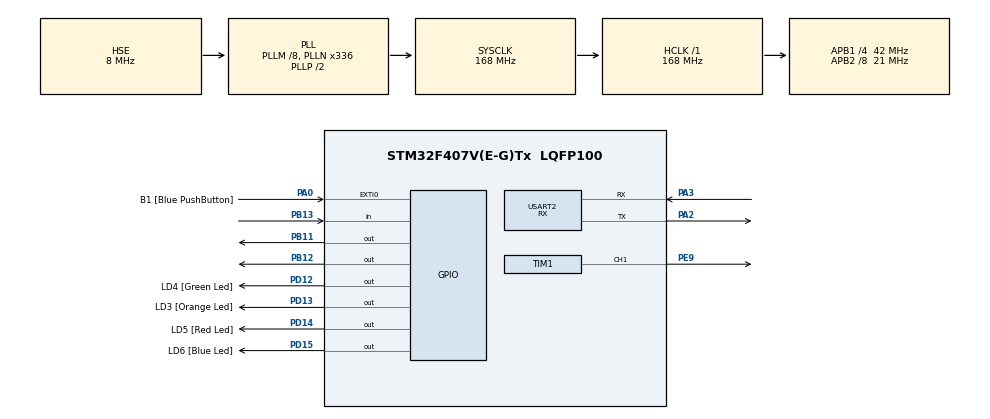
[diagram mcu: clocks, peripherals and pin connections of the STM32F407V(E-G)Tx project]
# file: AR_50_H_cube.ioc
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Mcu.Family=STM32F4
Mcu.Name=STM32F407V(E-G)Tx
Mcu.Package=LQFP100
NVIC.PriorityGroup=NVIC_PRIORITYGROUP_0
NVIC.USART2_IRQn=true\:0\:0\:false\:false\:true\:true\:true
PA0-WKUP.GPIO_Label=B1 [Blue PushButton]
PA0-WKUP.GPIO_ModeDefaultEXTI=GPIO_MODE_EVT_RISING
PA0-WKUP.GPIO_PuPd=GPIO_NOPULL
PA0-WKUP.Signal=GPXTI0
PA13.GPIO_Label=SWDIO
PA13.Mode=Serial_Wire
PA13.Signal=SYS_JTMS-SWDIO
PA14.GPIO_Label=SWCLK
PA14.Mode=Serial_Wire
PA14.Signal=SYS_JTCK-SWCLK
PA2.Mode=Asynchronous
PA2.Signal=USART2_TX
PA3.Mode=Asynchronous
PA3.Signal=USART2_RX
PB11.Signal=GPIO_Output
PB12.Signal=GPIO_Output
PB13.Signal=GPIO_Input
PB3.GPIO_Label=SWO
PB3.Signal=SYS_JTDO-SWO
PC14-OSC32_IN.GPIO_Label=PC14-OSC32_IN
PC14-OSC32_IN.Mode=LSE-External-Oscillator
PC14-OSC32_IN.Signal=RCC_OSC32_IN
PC15-OSC32_OUT.GPIO_Label=PC15-OSC32_OUT
PC15-OSC32_OUT.Mode=LSE-External-Oscillator
PC15-OSC32_OUT.Signal=RCC_OSC32_OUT
PD12.GPIO_Label=LD4 [Green Led]
PD12.GPIO_PuPd=GPIO_NOPULL
PD12.GPIO_Speed=GPIO_SPEED_FREQ_LOW
PD12.Signal=GPIO_Output
PD13.GPIO_Label=LD3 [Orange Led]
PD13.GPIO_PuPd=GPIO_NOPULL
PD13.GPIO_Speed=GPIO_SPEED_FREQ_LOW
PD13.Signal=GPIO_Output
PD14.GPIO_Label=LD5 [Red Led]
PD14.GPIO_PuPd=GPIO_NOPULL
PD14.GPIO_Speed=GPIO_SPEED_FREQ_LOW
PD14.Signal=GPIO_Output
PD15.GPIO_Label=LD6 [Blue Led]
PD15.GPIO_PuPd=GPIO_NOPULL
PD15.GPIO_Speed=GPIO_SPEED_FREQ_LOW
PD15.Signal=GPIO_Output
PE9.Signal=S_TIM1_CH1
PH0-OSC_IN.GPIO_Label=PH0-OSC_IN
PH0-OSC_IN.Mode=HSE-External-Oscillator
PH0-OSC_IN.Signal=RCC_OSC_IN
PH1-OSC_OUT.GPIO_Label=PH1-OSC_OUT
PH1-OSC_OUT.Mode=HSE-External-Oscillator
PH1-OSC_OUT.Signal=RCC_OSC_OUT
ProjectManager.HeapSize=0x200
ProjectManager.StackSize=0x400
ProjectManager.TargetToolchain=MDK-ARM V5
RCC.48MHZClocksFreq_Value=48000000
RCC.AHBFreq_Value=168000000
RCC.APB1CLKDivider=RCC_HCLK_DIV4
RCC.APB1Freq_Value=42000000
RCC.APB1TimFreq_Value=84000000
RCC.APB2CLKDivider=RCC_HCLK_DIV8
RCC.APB2Freq_Value=21000000
RCC.APB2TimFreq_Value=42000000
RCC.CortexFreq_Value=168000000
RCC.HCLKFreq_Value=168000000
RCC.HSE_VALUE=8000000
RCC.HSI_VALUE=16000000
RCC.PLLM=8
RCC.PLLN=336
RCC.PLLQ=7
RCC.PLLSourceVirtual=RCC_PLLSOURCE_HSE
RCC.SYSCLKFreq_VALUE=168000000
RCC.SYSCLKSource=RCC_SYSCLKSOURCE_PLLCLK
RCC.VCOOutputFreq_Value=336000000
SH.S_TIM1_CH1.0=TIM1_CH1,PWM Generation1 CH1
TIM1.Channel-PWM\ Generation1\ CH1=TIM_CHANNEL_1
TIM1.Period=19999
TIM1.Prescaler=41
TIM1.Pulse-PWM\ Generation1\ CH1=1500
USART2.Mode=MODE_RX
USART2.VirtualMode=VM_ASYNC
VP_TIM1_VS_ClockSourceINT.Mode=Internal
board=STM32F407G-DISC1

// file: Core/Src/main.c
/* USER CODE BEGIN Header */
/**
  ******************************************************************************
  * @file           : main.c
  * @brief          : Main program body
  ******************************************************************************
  * @attention
  *
  * <h2><center>&copy; Copyright (c) 2020 STMicroelectronics.
  * All rights reserved.</center></h2>
  *
  * This software component is licensed by ST under BSD 3-Clause license,
  * the "License"; You may not use this file except in compliance with the
  * License. You may obtain a copy of the License at:
  *                        opensource.org/licenses/BSD-3-Clause
  *
  ******************************************************************************
  */
/* USER CODE END Header */
#include "main.h"
#include "tim.h"
#include "usart.h"
#include "gpio.h"
#include "string.h"// funkcja sprintf, strcmp, strlen

/* USER CODE BEGIN PTD */
typedef struct
{
	int16_t Servo1;
}Controls;
/* USER CODE END PTD */

/* USER CODE BEGIN PD */
#define SERVO1_STEP 50
#define SERVO1_MAX 2100
#define SERVO1_MIN 900
#define SERVO1_NEUTRAL 1500
/* USER CODE END PD */

/* USER CODE BEGIN PV */
Controls control;
/* USER CODE END PV */

void SystemClock_Config(void);
/* USER CODE BEGIN PFP */
void moveForward(void){
	HAL_GPIO_WritePin(GPIOB, GPIO_PIN_11, GPIO_PIN_SET);
	HAL_GPIO_WritePin(GPIOB, GPIO_PIN_12, GPIO_PIN_RESET);
}

void moveBackward(void){
	HAL_GPIO_WritePin(GPIOB, GPIO_PIN_12, GPIO_PIN_SET);
	HAL_GPIO_WritePin(GPIOB, GPIO_PIN_11, GPIO_PIN_RESET);
}

void stop(void){
	HAL_GPIO_WritePin(GPIOB, GPIO_PIN_12, GPIO_PIN_RESET);
	HAL_GPIO_WritePin(GPIOB, GPIO_PIN_11, GPIO_PIN_RESET);
}

uint8_t string_split(char *data)// przetwarza odebrane dane z BLUETOOTH
{
	uint32_t z=0;
	uint16_t Servo1PWM;
	uint8_t ret_val = 1;

		if(!strcmp("#2$",data))
		{
			moveForward();
			HAL_GPIO_WritePin(GPIOD, LD3_Pin, GPIO_PIN_SET);
			HAL_GPIO_WritePin(GPIOD, LD6_Pin, GPIO_PIN_RESET);
			ret_val = 0;
		}
		if(!strcmp("#4$",data))
		{
			if (control.Servo1 <= (SERVO1_MAX - SERVO1_NEUTRAL)) control.Servo1 += SERVO1_STEP;
			HAL_GPIO_WritePin(GPIOD, LD4_Pin, GPIO_PIN_SET);
			ret_val = 0;
		}
		if(!strcmp("#6$",data))
		{
			if (control.Servo1 >= (SERVO1_MIN - SERVO1_NEUTRAL)) control.Servo1 -= SERVO1_STEP;
			HAL_GPIO_WritePin(GPIOD, LD5_Pin, GPIO_PIN_SET);
			ret_val = 0;
		}
		if(!strcmp("#8$",data))
		{
			moveBackward();
			HAL_GPIO_WritePin(GPIOD, LD3_Pin, GPIO_PIN_RESET);
			HAL_GPIO_WritePin(GPIOD, LD6_Pin, GPIO_PIN_SET);
			ret_val = 0;
		}
		if(!strcmp("#5$",data))
		{
			stop();
			HAL_GPIO_WritePin(GPIOD, LD3_Pin, GPIO_PIN_RESET);
			HAL_GPIO_WritePin(GPIOD, LD6_Pin, GPIO_PIN_RESET);
			ret_val = 0;
		}

		Servo1PWM=SERVO1_NEUTRAL+control.Servo1;

		if(Servo1PWM > SERVO1_MAX)			Servo1PWM=SERVO1_MAX;
		if(Servo1PWM < SERVO1_MIN)			Servo1PWM=SERVO1_MIN;

		TIM1->CCR1=Servo1PWM;

	for(z=0;z<strlen(data);z++)
	{
		data[z]='\0';
	}
	return ret_val;
}
/* USER CODE END PFP */

int main(void)
{

  /* MCU Configuration--------------------------------------------------------*/

  /* Reset of all peripherals, Initializes the Flash interface and the Systick. */
  HAL_Init();

  /* Configure the system clock */
  SystemClock_Config();

  /* Initialize all configured peripherals */
  MX_GPIO_Init();
  MX_TIM1_Init();
  MX_USART2_UART_Init();
  /* USER CODE BEGIN 2 */

	HAL_TIM_PWM_Start(&htim1, TIM_CHANNEL_1);

  /* USER CODE END 2 */

  /* Infinite loop */
  /* USER CODE BEGIN WHILE */
  while (1)
  {
		HAL_GPIO_WritePin(GPIOD, LD4_Pin, GPIO_PIN_RESET);
		HAL_GPIO_WritePin(GPIOD, LD5_Pin, GPIO_PIN_RESET);
		HAL_Delay(500);

    /* USER CODE END WHILE */

  }
}

void SystemClock_Config(void)
{
  RCC_OscInitTypeDef RCC_OscInitStruct = {0};
  RCC_ClkInitTypeDef RCC_ClkInitStruct = {0};

  /** Configure the main internal regulator output voltage
  */
  __HAL_RCC_PWR_CLK_ENABLE();
  __HAL_PWR_VOLTAGESCALING_CONFIG(PWR_REGULATOR_VOLTAGE_SCALE1);
  /** Initializes the RCC Oscillators according to the specified parameters
  * in the RCC_OscInitTypeDef structure.
  */
  RCC_OscInitStruct.OscillatorType = RCC_OSCILLATORTYPE_HSE;
  RCC_OscInitStruct.HSEState = RCC_HSE_ON;
  RCC_OscInitStruct.PLL.PLLState = RCC_PLL_ON;
  RCC_OscInitStruct.PLL.PLLSource = RCC_PLLSOURCE_HSE;
  RCC_OscInitStruct.PLL.PLLM = 8;
  RCC_OscInitStruct.PLL.PLLN = 336;
  RCC_OscInitStruct.PLL.PLLP = RCC_PLLP_DIV2;
  RCC_OscInitStruct.PLL.PLLQ = 7;
  if (HAL_RCC_OscConfig(&RCC_OscInitStruct) != HAL_OK)
  {
    Error_Handler();
  }
  /** Initializes the CPU, AHB and APB buses clocks
  */
  RCC_ClkInitStruct.ClockType = RCC_CLOCKTYPE_HCLK|RCC_CLOCKTYPE_SYSCLK
                              |RCC_CLOCKTYPE_PCLK1|RCC_CLOCKTYPE_PCLK2;
  RCC_ClkInitStruct.SYSCLKSource = RCC_SYSCLKSOURCE_PLLCLK;
  RCC_ClkInitStruct.AHBCLKDivider = RCC_SYSCLK_DIV1;
  RCC_ClkInitStruct.APB1CLKDivider = RCC_HCLK_DIV4;
  RCC_ClkInitStruct.APB2CLKDivider = RCC_HCLK_DIV8;

  if (HAL_RCC_ClockConfig(&RCC_ClkInitStruct, FLASH_LATENCY_5) != HAL_OK)
  {
    Error_Handler();
  }
}

void Error_Handler(void)
{
  __disable_irq();
  while (1)
  {
  }
}

/************************ (C) COPYRIGHT STMicroelectronics *****END OF FILE****/
